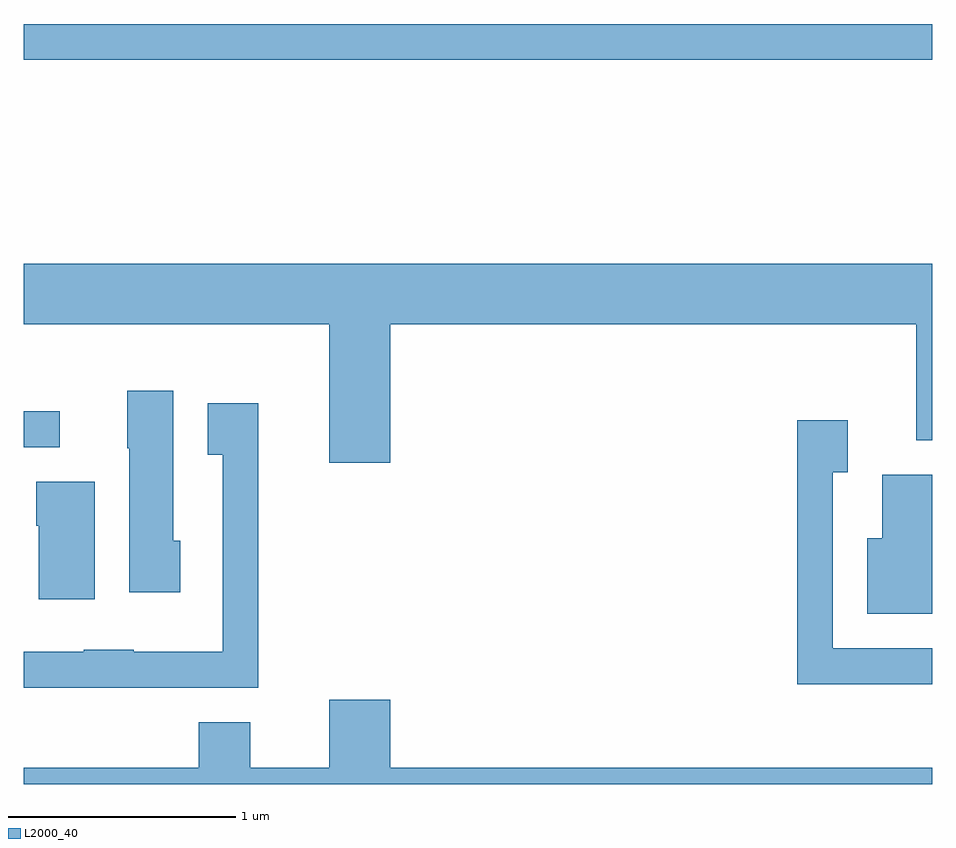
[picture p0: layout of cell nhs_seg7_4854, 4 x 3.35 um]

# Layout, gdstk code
import gdstk
lib = gdstk.Library(unit=1e-6, precision=1e-09)
def R(c, l, rs):  # rectangles x0, y0, x1, y1
    for r in rs: c.add(gdstk.rectangle(r[:2], r[2:], *l))
def P(c, l, *ps):  # polygons
    for p in ps: c.add(gdstk.Polygon(p, *l))
L2000_40 = (2000, 40)

nhs_seg7_4854 = lib.new_cell('nhs_seg7_4854')
R(nhs_seg7_4854, L2000_40, [(333.611,1753.736,333.768,1753.894), (333.611,1755.441,337.611,1755.599)])
P(nhs_seg7_4854, L2000_40, [(335.224,1754.276),(337.541,1754.276),(337.541,1753.766),(337.611,1753.766),(337.611,1754.544),(333.611,1754.544),(333.611,1754.276),(334.956,1754.276),(334.956,1753.666),(335.224,1753.666)],
  [(334.299,1753.324),(334.269,1753.324),(334.269,1753.984),(334.066,1753.984),(334.066,1753.73),(334.076,1753.73),(334.076,1753.096),(334.299,1753.096)],
  [(334.644,1753.929),(334.421,1753.929),(334.421,1753.701),(334.486,1753.701),(334.486,1752.834),(334.095,1752.834),(334.095,1752.844),(333.875,1752.844),(333.875,1752.834),(333.611,1752.834),(333.611,1752.676),(334.644,1752.676)],
  [(337.611,1752.849),(337.174,1752.849),(337.174,1753.626),(337.239,1753.626),(337.239,1753.854),(337.016,1753.854),(337.016,1752.691),(337.611,1752.691)],
  [(337.611,1753.614),(337.391,1753.614),(337.391,1753.334),(337.326,1753.334),(337.326,1753.001),(337.611,1753.001)],
  [(333.924,1753.584),(333.666,1753.584),(333.666,1753.39),(333.676,1753.39),(333.676,1753.066),(333.924,1753.066)],
  [(337.611,1752.324),(335.224,1752.324),(335.224,1752.624),(334.956,1752.624),(334.956,1752.324),(334.609,1752.324),(334.609,1752.524),(334.381,1752.524),(334.381,1752.324),(333.611,1752.324),(333.611,1752.252),(337.611,1752.252)])

lib.write_gds('nhs_seg7_4854.gds')
